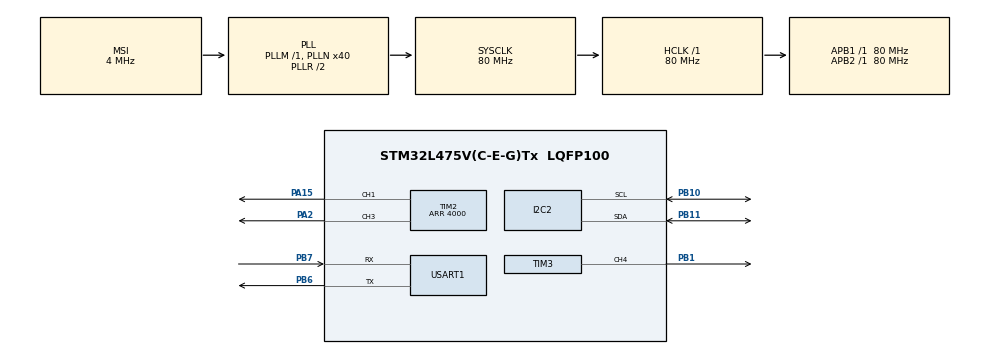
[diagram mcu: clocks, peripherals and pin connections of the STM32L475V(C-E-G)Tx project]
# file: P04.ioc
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I2C2.Timing=0x10909CEC
Mcu.Family=STM32L4
Mcu.Name=STM32L475V(C-E-G)Tx
Mcu.Package=LQFP100
NVIC.PriorityGroup=NVIC_PRIORITYGROUP_4
PA15\ (JTDI).Signal=S_TIM2_CH1
PA2.Signal=S_TIM2_CH3
PB1.Signal=S_TIM3_CH4
PB10.Mode=I2C
PB10.Signal=I2C2_SCL
PB11.Mode=I2C
PB11.Signal=I2C2_SDA
PB6.Mode=Asynchronous
PB6.Signal=USART1_TX
PB7.Mode=Asynchronous
PB7.Signal=USART1_RX
ProjectManager.HeapSize=0x200
ProjectManager.StackSize=0x400
ProjectManager.TargetToolchain=STM32CubeIDE
RCC.AHBFreq_Value=80000000
RCC.APB1Freq_Value=80000000
RCC.APB1TimFreq_Value=80000000
RCC.APB2Freq_Value=80000000
RCC.APB2TimFreq_Value=80000000
RCC.CortexFreq_Value=80000000
RCC.HCLKFreq_Value=80000000
RCC.HSE_VALUE=8000000
RCC.HSI_VALUE=16000000
RCC.LSE_VALUE=32768
RCC.MSI_VALUE=4000000
RCC.PLLN=40
RCC.SYSCLKFreq_VALUE=80000000
RCC.SYSCLKSource=RCC_SYSCLKSOURCE_PLLCLK
RCC.VCOOutputFreq_Value=160000000
SH.S_TIM2_CH1.0=TIM2_CH1,PWM Generation1 CH1
SH.S_TIM2_CH3.0=TIM2_CH3,PWM Generation3 CH3
SH.S_TIM3_CH4.0=TIM3_CH4,PWM Generation4 CH4
TIM2.Channel-PWM\ Generation1\ CH1=TIM_CHANNEL_1
TIM2.Channel-PWM\ Generation3\ CH3=TIM_CHANNEL_3
TIM2.Period=4000
TIM3.Channel-PWM\ Generation4\ CH4=TIM_CHANNEL_4
TIM3.Period=20000
TIM3.Prescaler=79
TIM3.Pulse-PWM\ Generation4\ CH4=500
USART1.VirtualMode-Asynchronous=VM_ASYNC
board=custom

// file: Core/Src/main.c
/* USER CODE BEGIN Header */
/**
  ******************************************************************************
  * @file           : main.c
  * @brief          : Main program body
  ******************************************************************************
  * @attention
  *
  * Copyright (c) 2024 STMicroelectronics.
  * All rights reserved.
  *
  * This software is licensed under terms that can be found in the LICENSE file
  * in the root directory of this software component.
  * If no LICENSE file comes with this software, it is provided AS-IS.
  *
  ******************************************************************************
  */
/* USER CODE END Header */
#include "main.h"

I2C_HandleTypeDef hi2c2;

TIM_HandleTypeDef htim2;
TIM_HandleTypeDef htim3;

UART_HandleTypeDef huart1;

void SystemClock_Config(void);
static void MX_GPIO_Init(void);
static void MX_TIM2_Init(void);
static void MX_USART1_UART_Init(void);
static void MX_I2C2_Init(void);
static void MX_TIM3_Init(void);
/* USER CODE BEGIN PFP */
void setMotorSpeed(float speed);
void initAccelerometer(void);
int16_t readAccel(uint8_t axxis);
void setServoPos(float ang);
/* USER CODE END PFP */

/* USER CODE BEGIN 0 */
void setServoPos(float ang){
	ang=((ang/18)*200)+500;
	__HAL_TIM_SET_COMPARE(&htim3, TIM_CHANNEL_4, ang);
}

void setMotorSpeed(float speed){
	if(speed<0){
		__HAL_TIM_SET_COMPARE(&htim2, TIM_CHANNEL_3, -speed);
		__HAL_TIM_SET_COMPARE(&htim2, TIM_CHANNEL_1, 0);

	}else if(speed>0){
		__HAL_TIM_SET_COMPARE(&htim2, TIM_CHANNEL_1, speed);
		__HAL_TIM_SET_COMPARE(&htim2, TIM_CHANNEL_3, 0);

	}

}

int16_t readAccel(uint8_t axxis){
	uint8_t buffer[2];
	int16_t accel;

	uint8_t regAddr = 0x28 + (axxis * 2);

	HAL_I2C_Mem_Read(&hi2c2, 0xD4, regAddr, I2C_MEMADD_SIZE_8BIT, buffer, 2, 1000);

	accel=((int16_t)(buffer[1]<<8)|buffer[0])*0.061;
	return accel;

}

void initAccelerometer(void){
	uint8_t buffer[1];
	buffer[0]=0x40;
	HAL_I2C_Mem_Write(&hi2c2, 0xD4, 0x10, I2C_MEMADD_SIZE_8BIT, buffer, 1, 1000);
}

/* USER CODE END 0 */

int main(void)
{

  /* MCU Configuration--------------------------------------------------------*/

  /* Reset of all peripherals, Initializes the Flash interface and the Systick. */
  HAL_Init();

  /* Configure the system clock */
  SystemClock_Config();

  /* Initialize all configured peripherals */
  MX_GPIO_Init();
  MX_TIM2_Init();
  MX_USART1_UART_Init();
  MX_I2C2_Init();
  MX_TIM3_Init();
  /* USER CODE BEGIN 2 */
  HAL_TIM_PWM_Start(&htim2, TIM_CHANNEL_3);
  HAL_TIM_PWM_Start(&htim2, TIM_CHANNEL_1);
  initAccelerometer();
  HAL_TIM_PWM_Start(&htim3, TIM_CHANNEL_4);
  /* USER CODE END 2 */

  /* Infinite loop */
  /* USER CODE BEGIN WHILE */
  while (1)
  {
	  int16_t th;
    /* USER CODE END WHILE */

    /* USER CODE BEGIN 3 */
	  int16_t acc;
	  acc = readAccel(1);

	  setMotorSpeed(4*acc);
	  HAL_Delay(100);

	  int16_t servo;
	  servo=readAccel(0);
	  setServoPos((servo*0.09)+90);

//	  for(int i=0; i<180; i++){
//		  setServoPos(i);
//		  delay(500);
//	  }

//	  /*for(servo=500; servo<2500; servo+=250){
//		  __HAL_TIM_SET_COMPARE(&htim3, TIM_CHANNEL_4, servo);
//		  HAL_Delay(500);
//	  }*/

	  //setMotorSpeed(1000);

//	  for(th=0; th<=4000; th+=100){
//	  	 setMotorSpeed(th);
//	  }
//	  HAL_Delay(1000);
//	  for(th=4000; th>=0; th-=100){
//		  setMotorSpeed(th);
//	  }
//	  HAL_Delay(1000);
//	  for(th=0; th>=-4000;th-=100){
//	 	  setMotorSpeed(th);
//	  }
//	  HAL_Delay(1000);
//	  for(th=-4000; th<=0; th+=100){
//		  setMotorSpeed(th);
//	  }
//	  HAL_Delay(1000);

//	  for(th=0; th<4000; th+=100){
//		  __HAL_TIM_SET_COMPARE(&htim2, TIM_CHANNEL_1, th);
//		  HAL_Delay(200);
//	  }
  }
  /* USER CODE END 3 */
}

void SystemClock_Config(void)
{
  RCC_OscInitTypeDef RCC_OscInitStruct = {0};
  RCC_ClkInitTypeDef RCC_ClkInitStruct = {0};

  /** Configure the main internal regulator output voltage
  */
  if (HAL_PWREx_ControlVoltageScaling(PWR_REGULATOR_VOLTAGE_SCALE1) != HAL_OK)
  {
    Error_Handler();
  }

  /** Initializes the RCC Oscillators according to the specified parameters
  * in the RCC_OscInitTypeDef structure.
  */
  RCC_OscInitStruct.OscillatorType = RCC_OSCILLATORTYPE_MSI;
  RCC_OscInitStruct.MSIState = RCC_MSI_ON;
  RCC_OscInitStruct.MSICalibrationValue = 0;
  RCC_OscInitStruct.MSIClockRange = RCC_MSIRANGE_6;
  RCC_OscInitStruct.PLL.PLLState = RCC_PLL_ON;
  RCC_OscInitStruct.PLL.PLLSource = RCC_PLLSOURCE_MSI;
  RCC_OscInitStruct.PLL.PLLM = 1;
  RCC_OscInitStruct.PLL.PLLN = 40;
  RCC_OscInitStruct.PLL.PLLP = RCC_PLLP_DIV7;
  RCC_OscInitStruct.PLL.PLLQ = RCC_PLLQ_DIV2;
  RCC_OscInitStruct.PLL.PLLR = RCC_PLLR_DIV2;
  if (HAL_RCC_OscConfig(&RCC_OscInitStruct) != HAL_OK)
  {
    Error_Handler();
  }

  /** Initializes the CPU, AHB and APB buses clocks
  */
  RCC_ClkInitStruct.ClockType = RCC_CLOCKTYPE_HCLK|RCC_CLOCKTYPE_SYSCLK
                              |RCC_CLOCKTYPE_PCLK1|RCC_CLOCKTYPE_PCLK2;
  RCC_ClkInitStruct.SYSCLKSource = RCC_SYSCLKSOURCE_PLLCLK;
  RCC_ClkInitStruct.AHBCLKDivider = RCC_SYSCLK_DIV1;
  RCC_ClkInitStruct.APB1CLKDivider = RCC_HCLK_DIV1;
  RCC_ClkInitStruct.APB2CLKDivider = RCC_HCLK_DIV1;

  if (HAL_RCC_ClockConfig(&RCC_ClkInitStruct, FLASH_LATENCY_4) != HAL_OK)
  {
    Error_Handler();
  }
}

static void MX_I2C2_Init(void)
{

  hi2c2.Instance = I2C2;
  hi2c2.Init.Timing = 0x10909CEC;
  hi2c2.Init.OwnAddress1 = 0;
  hi2c2.Init.AddressingMode = I2C_ADDRESSINGMODE_7BIT;
  hi2c2.Init.DualAddressMode = I2C_DUALADDRESS_DISABLE;
  hi2c2.Init.OwnAddress2 = 0;
  hi2c2.Init.OwnAddress2Masks = I2C_OA2_NOMASK;
  hi2c2.Init.GeneralCallMode = I2C_GENERALCALL_DISABLE;
  hi2c2.Init.NoStretchMode = I2C_NOSTRETCH_DISABLE;
  if (HAL_I2C_Init(&hi2c2) != HAL_OK)
  {
    Error_Handler();
  }

  /** Configure Analogue filter
  */
  if (HAL_I2CEx_ConfigAnalogFilter(&hi2c2, I2C_ANALOGFILTER_ENABLE) != HAL_OK)
  {
    Error_Handler();
  }

  /** Configure Digital filter
  */
  if (HAL_I2CEx_ConfigDigitalFilter(&hi2c2, 0) != HAL_OK)
  {
    Error_Handler();
  }

}

static void MX_TIM2_Init(void)
{

  TIM_MasterConfigTypeDef sMasterConfig = {0};
  TIM_OC_InitTypeDef sConfigOC = {0};

  htim2.Instance = TIM2;
  htim2.Init.Prescaler = 0;
  htim2.Init.CounterMode = TIM_COUNTERMODE_UP;
  htim2.Init.Period = 4000;
  htim2.Init.ClockDivision = TIM_CLOCKDIVISION_DIV1;
  htim2.Init.AutoReloadPreload = TIM_AUTORELOAD_PRELOAD_DISABLE;
  if (HAL_TIM_PWM_Init(&htim2) != HAL_OK)
  {
    Error_Handler();
  }
  sMasterConfig.MasterOutputTrigger = TIM_TRGO_RESET;
  sMasterConfig.MasterSlaveMode = TIM_MASTERSLAVEMODE_DISABLE;
  if (HAL_TIMEx_MasterConfigSynchronization(&htim2, &sMasterConfig) != HAL_OK)
  {
    Error_Handler();
  }
  sConfigOC.OCMode = TIM_OCMODE_PWM1;
  sConfigOC.Pulse = 0;
  sConfigOC.OCPolarity = TIM_OCPOLARITY_HIGH;
  sConfigOC.OCFastMode = TIM_OCFAST_DISABLE;
  if (HAL_TIM_PWM_ConfigChannel(&htim2, &sConfigOC, TIM_CHANNEL_1) != HAL_OK)
  {
    Error_Handler();
  }
  if (HAL_TIM_PWM_ConfigChannel(&htim2, &sConfigOC, TIM_CHANNEL_3) != HAL_OK)
  {
    Error_Handler();
  }
  HAL_TIM_MspPostInit(&htim2);

}

static void MX_TIM3_Init(void)
{

  TIM_MasterConfigTypeDef sMasterConfig = {0};
  TIM_OC_InitTypeDef sConfigOC = {0};

  htim3.Instance = TIM3;
  htim3.Init.Prescaler = 79;
  htim3.Init.CounterMode = TIM_COUNTERMODE_UP;
  htim3.Init.Period = 20000;
  htim3.Init.ClockDivision = TIM_CLOCKDIVISION_DIV1;
  htim3.Init.AutoReloadPreload = TIM_AUTORELOAD_PRELOAD_DISABLE;
  if (HAL_TIM_PWM_Init(&htim3) != HAL_OK)
  {
    Error_Handler();
  }
  sMasterConfig.MasterOutputTrigger = TIM_TRGO_RESET;
  sMasterConfig.MasterSlaveMode = TIM_MASTERSLAVEMODE_DISABLE;
  if (HAL_TIMEx_MasterConfigSynchronization(&htim3, &sMasterConfig) != HAL_OK)
  {
    Error_Handler();
  }
  sConfigOC.OCMode = TIM_OCMODE_PWM1;
  sConfigOC.Pulse = 500;
  sConfigOC.OCPolarity = TIM_OCPOLARITY_HIGH;
  sConfigOC.OCFastMode = TIM_OCFAST_DISABLE;
  if (HAL_TIM_PWM_ConfigChannel(&htim3, &sConfigOC, TIM_CHANNEL_4) != HAL_OK)
  {
    Error_Handler();
  }
  HAL_TIM_MspPostInit(&htim3);

}

static void MX_USART1_UART_Init(void)
{

  huart1.Instance = USART1;
  huart1.Init.BaudRate = 115200;
  huart1.Init.WordLength = UART_WORDLENGTH_8B;
  huart1.Init.StopBits = UART_STOPBITS_1;
  huart1.Init.Parity = UART_PARITY_NONE;
  huart1.Init.Mode = UART_MODE_TX_RX;
  huart1.Init.HwFlowCtl = UART_HWCONTROL_NONE;
  huart1.Init.OverSampling = UART_OVERSAMPLING_16;
  huart1.Init.OneBitSampling = UART_ONE_BIT_SAMPLE_DISABLE;
  huart1.AdvancedInit.AdvFeatureInit = UART_ADVFEATURE_NO_INIT;
  if (HAL_UART_Init(&huart1) != HAL_OK)
  {
    Error_Handler();
  }

}

static void MX_GPIO_Init(void)
{

  /* GPIO Ports Clock Enable */
  __HAL_RCC_GPIOA_CLK_ENABLE();
  __HAL_RCC_GPIOB_CLK_ENABLE();

}

void Error_Handler(void)
{
  __disable_irq();
  while (1)
  {
  }
}
